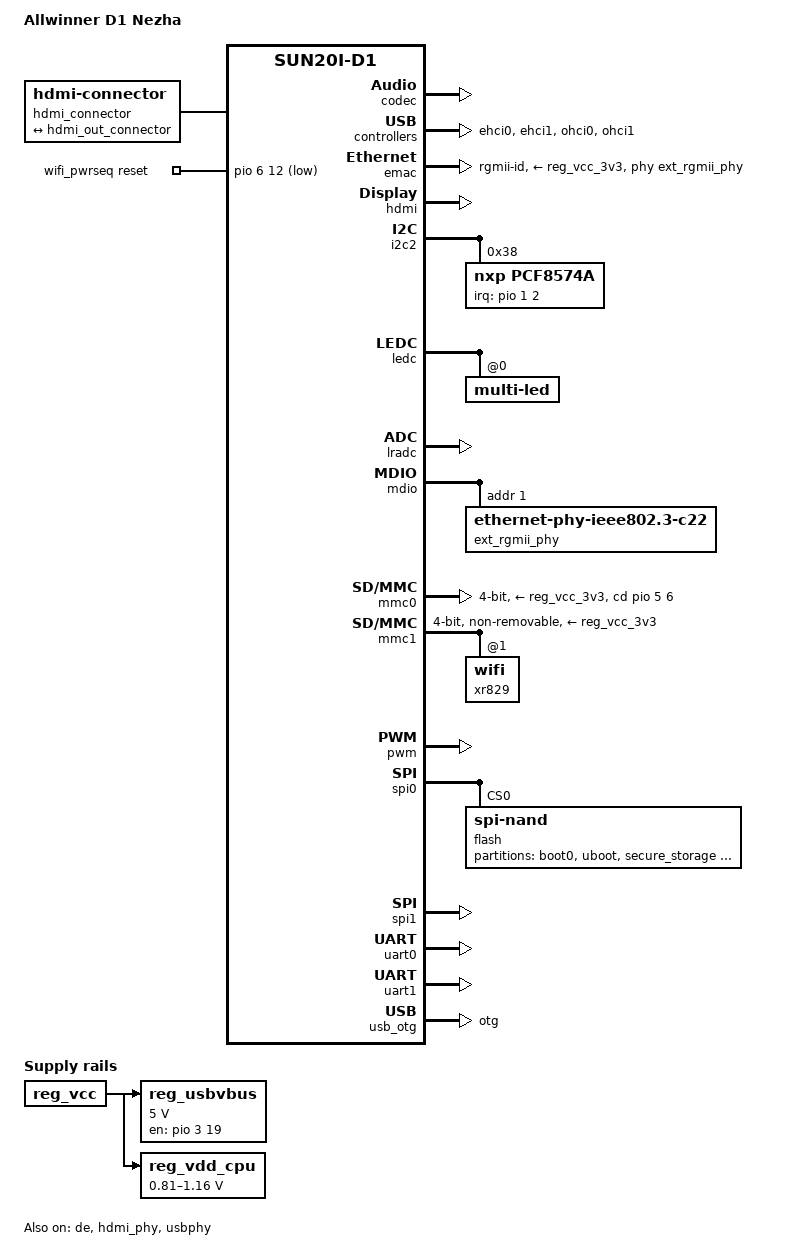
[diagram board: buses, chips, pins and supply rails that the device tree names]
// SPDX-License-Identifier: (GPL-2.0+ or MIT)
// Copyright (C) 2021-2022 Samuel Holland <samuel@sholland.org>

/dts-v1/;

#include <dt-bindings/gpio/gpio.h>
#include <dt-bindings/input/input.h>
#include <dt-bindings/leds/common.h>

#include "sun20i-d1.dtsi"
#include "sun20i-d1-common-regulators.dtsi"

/ {
	model = "Allwinner D1 Nezha";
	compatible = "allwinner,d1-nezha", "allwinner,sun20i-d1";

	aliases {
		ethernet0 = &emac;
		ethernet1 = &xr829;
		mmc0 = &mmc0;
		serial0 = &uart0;
		spi0 = &spi0;
	};

	chosen {
		stdout-path = "serial0:115200n8";
	};

	hdmi_connector: connector {
		compatible = "hdmi-connector";
		type = "a";

		port {
			hdmi_connector_in: endpoint {
				remote-endpoint = <&hdmi_out_connector>;
			};
		};
	};

	reg_usbvbus: usbvbus {
		compatible = "regulator-fixed";
		regulator-name = "usbvbus";
		regulator-min-microvolt = <5000000>;
		regulator-max-microvolt = <5000000>;
		gpio = <&pio 3 19 GPIO_ACTIVE_HIGH>; /* PD19 */
		enable-active-high;
		vin-supply = <&reg_vcc>;
	};

	reg_vdd_cpu: vdd-cpu {
		compatible = "pwm-regulator";
		pwms = <&pwm 0 50000 0>;
		pwm-supply = <&reg_vcc>;
		regulator-name = "vdd-cpu";
		regulator-min-microvolt = <810000>;
		regulator-max-microvolt = <1160000>;
	};

	wifi_pwrseq: wifi-pwrseq {
		compatible = "mmc-pwrseq-simple";
		reset-gpios = <&pio 6 12 GPIO_ACTIVE_LOW>; /* PG12 */
	};
};

&codec {
	routing = "Headphone Jack", "HPOUTL",
		  "Headphone Jack", "HPOUTR",
		  "LINEINL", "HPOUTL",
		  "LINEINR", "HPOUTR",
		  "MICIN3", "Headset Microphone",
		  "Headset Microphone", "HBIAS";
	widgets = "Microphone", "Headset Microphone",
		  "Headphone", "Headphone Jack";
	status = "okay";
};

&cpu0 {
	cpu-supply = <&reg_vdd_cpu>;
};

&de {
	status = "okay";
};

&ehci0 {
	status = "okay";
};

&ehci1 {
	status = "okay";
};

&emac {
	pinctrl-0 = <&rgmii_pe_pins>;
	pinctrl-names = "default";
	phy-handle = <&ext_rgmii_phy>;
	phy-mode = "rgmii-id";
	phy-supply = <&reg_vcc_3v3>;
	status = "okay";
};

&hdmi {
	status = "okay";
};

&hdmi_out {
	hdmi_out_connector: endpoint {
		remote-endpoint = <&hdmi_connector_in>;
	};
};

&hdmi_phy {
	status = "okay";
};

&i2c2 {
	pinctrl-0 = <&i2c2_pb0_pins>;
	pinctrl-names = "default";
	status = "okay";

	pcf8574a: gpio@38 {
		compatible = "nxp,pcf8574a";
		reg = <0x38>;
		interrupt-parent = <&pio>;
		interrupts = <1 2 IRQ_TYPE_LEVEL_LOW>; /* PB2 */
		interrupt-controller;
		gpio-controller;
		#gpio-cells = <2>;
		#interrupt-cells = <2>;
	};
};

&ledc {
	pinctrl-0 = <&ledc_pc0_pin>;
	pinctrl-names = "default";
	status = "okay";

	multi-led@0 {
		reg = <0x0>;
		color = <LED_COLOR_ID_RGB>;
		function = LED_FUNCTION_STATUS;
	};
};

&lradc {
	status = "okay";

	button-160 {
		label = "OK";
		linux,code = <KEY_OK>;
		channel = <0>;
		voltage = <160000>;
	};
};

&mdio {
	ext_rgmii_phy: ethernet-phy@1 {
		compatible = "ethernet-phy-ieee802.3-c22";
		reg = <1>;
	};
};

&mmc0 {
	bus-width = <4>;
	cd-gpios = <&pio 5 6 GPIO_ACTIVE_HIGH>; /* PF6 */
	disable-wp;
	vmmc-supply = <&reg_vcc_3v3>;
	vqmmc-supply = <&reg_vcc_3v3>;
	pinctrl-0 = <&mmc0_pins>;
	pinctrl-names = "default";
	status = "okay";
};

&mmc1 {
	bus-width = <4>;
	mmc-pwrseq = <&wifi_pwrseq>;
	non-removable;
	vmmc-supply = <&reg_vcc_3v3>;
	vqmmc-supply = <&reg_vcc_3v3>;
	pinctrl-0 = <&mmc1_pins>;
	pinctrl-names = "default";
	status = "okay";

	xr829: wifi@1 {
		reg = <1>;
	};
};

&ohci0 {
	status = "okay";
};

&ohci1 {
	status = "okay";
};

&pwm {
	pinctrl-0 = <&pwm0_pd16_pin>;
	pinctrl-names = "default";
	status = "okay";
};

&spi0 {
	pinctrl-0 = <&spi0_pins>;
	pinctrl-names = "default";
	status = "okay";

	flash@0 {
		compatible = "spi-nand";
		reg = <0>;

		partitions {
			compatible = "fixed-partitions";
			#address-cells = <1>;
			#size-cells = <1>;

			partition@0 {
				label = "boot0";
				reg = <0x00000000 0x00100000>;
			};

			partition@100000 {
				label = "uboot";
				reg = <0x00100000 0x00300000>;
			};

			partition@400000 {
				label = "secure_storage";
				reg = <0x00400000 0x00100000>;
			};

			partition@500000 {
				label = "sys";
				reg = <0x00500000 0x0fb00000>;
			};
		};
	};
};

&spi1 {
	pinctrl-0 = <&spi1_pd_pins>;
	pinctrl-names = "default";
	status = "okay";
};

&uart0 {
	pinctrl-0 = <&uart0_pb8_pins>;
	pinctrl-names = "default";
	status = "okay";
};

&uart1 {
	uart-has-rtscts;
	pinctrl-0 = <&uart1_pg6_pins>, <&uart1_pg8_rts_cts_pins>;
	pinctrl-names = "default";
	status = "okay";

	/* XR829 bluetooth is connected here */
};

&usb_otg {
	dr_mode = "otg";
	status = "okay";
};

&usbphy {
	usb0_id_det-gpios = <&pio 3 21 GPIO_ACTIVE_HIGH>; /* PD21 */
	usb0_vbus_det-gpios = <&pio 3 20 GPIO_ACTIVE_HIGH>; /* PD20 */
	usb0_vbus-supply = <&reg_usbvbus>;
	usb1_vbus-supply = <&reg_vcc>;
	status = "okay";
};
